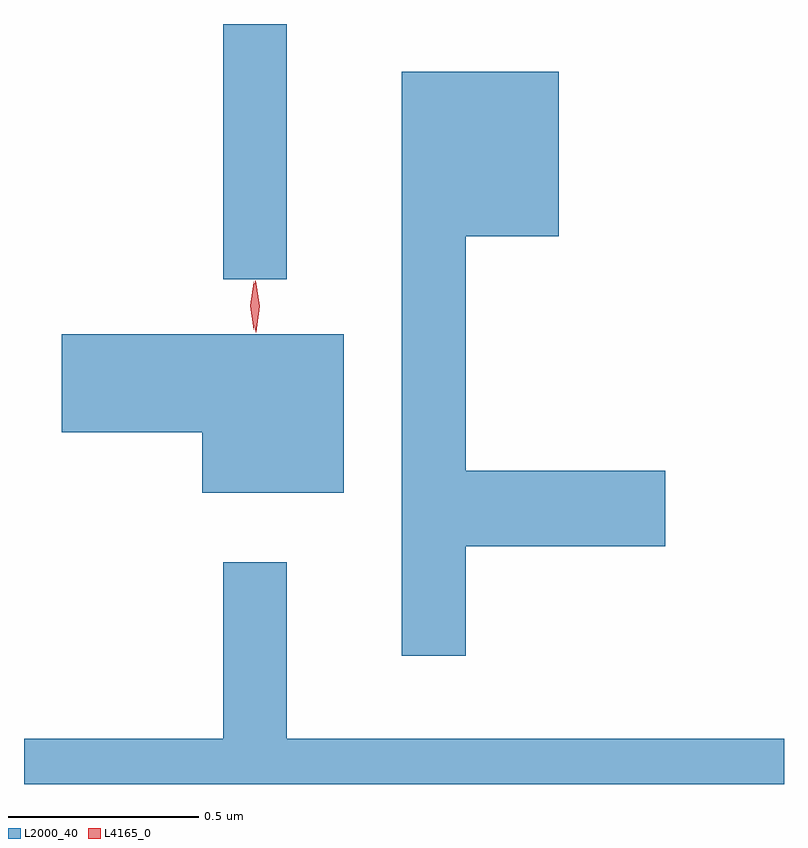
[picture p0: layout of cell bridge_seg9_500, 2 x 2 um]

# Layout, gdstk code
import gdstk
lib = gdstk.Library(unit=1e-6, precision=1e-09)
def R(c, l, rs):  # rectangles x0, y0, x1, y1
    for r in rs: c.add(gdstk.rectangle(r[:2], r[2:], *l))
def P(c, l, *ps):  # polygons
    for p in ps: c.add(gdstk.Polygon(p, *l))
L2000_40 = (2000, 40)
L4165_0 = (4165, 0)

bridge_seg9_500 = lib.new_cell('bridge_seg9_500')
R(bridge_seg9_500, L2000_40, [(619.391,1984.413,619.559,1985.085)])
P(bridge_seg9_500, L2000_40, [(620.029,1983.711),(620.554,1983.711),(620.554,1983.909),(620.029,1983.909),(620.029,1984.526),(620.274,1984.526),(620.274,1984.959),(619.861,1984.959),(619.861,1983.423),(620.029,1983.423)],
  [(619.709,1984.269),(618.966,1984.269),(618.966,1984.011),(619.336,1984.011),(619.336,1983.851),(619.709,1983.851)],
  [(620.867,1983.204),(619.559,1983.204),(619.559,1983.668),(619.391,1983.668),(619.391,1983.204),(618.867,1983.204),(618.867,1983.085),(620.867,1983.085)])
P(bridge_seg9_500, L4165_0, [(619.477,1984.274),(619.467,1984.342),(619.476,1984.41),(619.477,1984.41),(619.477,1984.41),(619.487,1984.342),(619.478,1984.274),(619.478,1984.274)],
  [(619.471,1984.28),(619.462,1984.343),(619.471,1984.406),(619.472,1984.407),(619.472,1984.406),(619.482,1984.343),(619.472,1984.28),(619.472,1984.28)])

lib.write_gds('bridge_seg9_500.gds')
